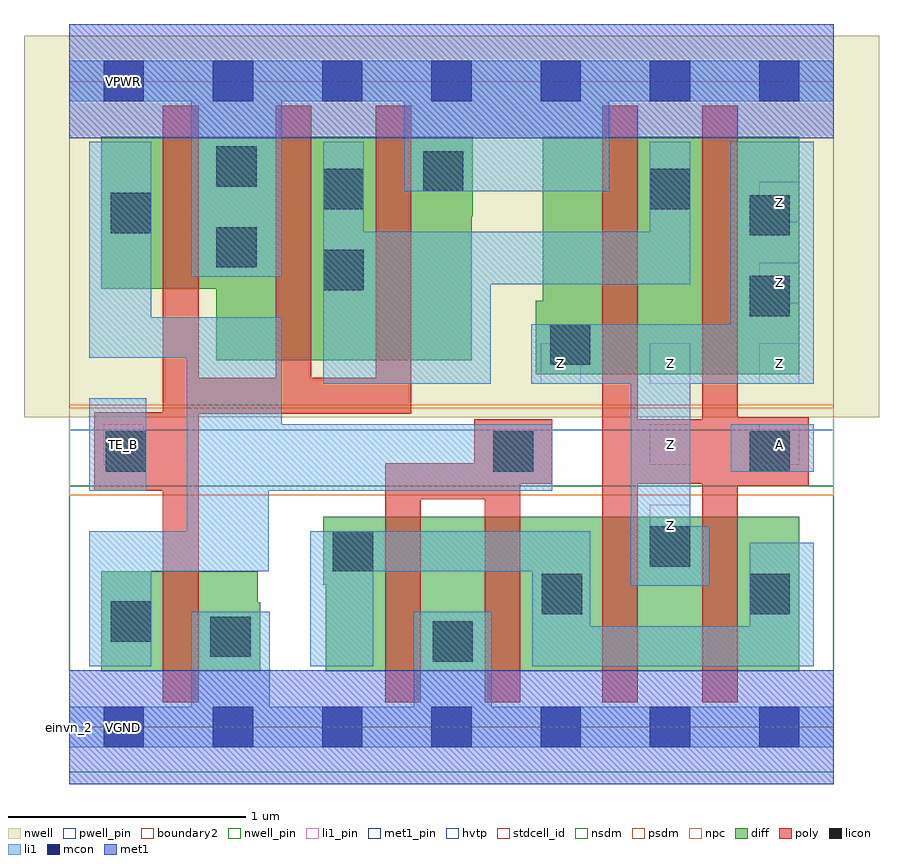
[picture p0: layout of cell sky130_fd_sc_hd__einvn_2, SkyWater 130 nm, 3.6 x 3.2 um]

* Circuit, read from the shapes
.subckt sky130_fd_sc_hd__einvn_2 A TE_B VGND VNB VPB VPWR Z
XM1 VGND TE_B n1 VNB sky130_fd_pr__nfet_01v8 w=0.42 l=0.15
XM2 VGND n1 n2 VNB sky130_fd_pr__nfet_01v8 w=0.65 l=0.15 m=2
XM3 Z A n2 VNB sky130_fd_pr__nfet_01v8 w=0.65 l=0.15 m=2
XM4 VPWR TE_B n1 VPB sky130_fd_pr__pfet_01v8_hvt w=0.64 l=0.15
XM5 n3 TE_B VPWR VPB sky130_fd_pr__pfet_01v8_hvt w=0.94 l=0.15 m=2
XM6 n3 A Z VPB sky130_fd_pr__pfet_01v8_hvt w=1 l=0.15 m=2
.ends

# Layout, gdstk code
import gdstk
lib = gdstk.Library(unit=1e-6, precision=1e-09)
def R(c, l, rs):  # rectangles x0, y0, x1, y1
    for r in rs: c.add(gdstk.rectangle(r[:2], r[2:], *l))
def A(c, l, x, y, w, h, nx, ny, dx, dy):  # array of equal rectangles
    R(c, l, [(x+i*dx, y+j*dy, x+i*dx+w, y+j*dy+h) for i in range(nx) for j in range(ny)])
def P(c, l, *ps):  # polygons
    for p in ps: c.add(gdstk.Polygon(p, *l))
nwell_pin = (64, 16)
nwell = (64, 20)
diff = (65, 20)
poly = (66, 20)
licon = (66, 44)
li1_pin = (67, 16)
li1 = (67, 20)
mcon = (67, 44)
met1_pin = (68, 16)
met1 = (68, 20)
hvtp = (78, 44)
stdcell_id = (81, 4)
nsdm = (93, 44)
psdm = (94, 20)
npc = (95, 20)
pwell_pin = (122, 16)
boundary2 = (236, 0)

sky130_fd_sc_hd__einvn_2 = lib.new_cell('sky130_fd_sc_hd__einvn_2')
R(sky130_fd_sc_hd__einvn_2, nwell_pin, [(0.145,2.635,0.315,2.805)])
R(sky130_fd_sc_hd__einvn_2, nwell, [(-0.19,1.305,3.41,2.91)])
P(sky130_fd_sc_hd__einvn_2, diff, [(0.805,0.525),(0.795,0.525),(0.795,0.655),(0.135,0.655),(0.135,0.235),(0.805,0.235)],
  [(3.075,0.885),(1.07,0.885),(1.07,0.6),(1.08,0.6),(1.08,0.235),(3.075,0.235)],
  [(1.7,2.485),(0.135,2.485),(0.135,1.845),(0.62,1.845),(0.62,1.545),(1.695,1.545),(1.695,2.15),(1.7,2.15)],
  [(3.075,2.485),(1.995,2.485),(1.995,1.795),(1.965,1.795),(1.965,1.485),(3.075,1.485)])
R(sky130_fd_sc_hd__einvn_2, poly, [(2.815,1.015,3.115,1.025), (2.815,1.295,3.115,1.305)])
P(sky130_fd_sc_hd__einvn_2, poly, [(1.44,2.615),(1.29,2.615),(1.29,1.47),(1.02,1.47),(1.02,2.615),(0.87,2.615),(0.87,1.47),(0.545,1.47),(0.545,2.615),(0.395,2.615),(0.395,1.325),(0.105,1.325),(0.105,0.995),(0.395,0.995),(0.395,0.105),(0.545,0.105),(0.545,1.32),(1.44,1.32)],
  [(2.035,1.295),(1.705,1.295),(1.705,1.11),(1.33,1.11),(1.33,0.105),(1.48,0.105),(1.48,0.96),(1.75,0.96),(1.75,0.105),(1.9,0.105),(1.9,1.025),(2.035,1.025)],
  [(3.115,1.295),(2.815,1.295),(2.815,2.615),(2.665,2.615),(2.665,1.295),(2.395,1.295),(2.395,2.615),(2.245,2.615),(2.245,0.105),(2.395,0.105),(2.395,1.025),(2.665,1.025),(2.665,0.105),(2.815,0.105),(2.815,1.025),(3.115,1.025)])
R(sky130_fd_sc_hd__einvn_2, licon, [(1.53,0.275,1.7,0.445), (0.595,0.295,0.765,0.465), (0.175,0.36,0.345,0.53), (1.99,0.475,2.16,0.645), (2.865,0.475,3.035,0.645), (1.11,0.655,1.28,0.825), (2.445,0.675,2.615,0.845), (0.155,1.075,0.325,1.245), (1.785,1.075,1.955,1.245), (2.865,1.075,3.035,1.245), (2.025,1.525,2.195,1.695), (2.865,1.73,3.035,1.9), (1.07,1.84,1.24,2.01), (0.62,1.935,0.79,2.105), (2.865,2.07,3.035,2.24), (0.175,2.08,0.345,2.25), (1.07,2.18,1.24,2.35), (2.445,2.18,2.615,2.35), (1.49,2.255,1.66,2.425), (0.62,2.275,0.79,2.445)])
A(sky130_fd_sc_hd__einvn_2, li1_pin, 1.985, 1.445, 0.17, 0.17, 3, 1, 0.46, 0)
R(sky130_fd_sc_hd__einvn_2, li1_pin, [(2.445,0.765,2.615,0.935), (0.145,1.105,0.315,1.275), (2.445,1.105,2.615,1.275), (2.905,1.105,3.075,1.275), (2.905,1.785,3.075,1.955), (2.905,2.125,3.075,2.295)])
R(sky130_fd_sc_hd__einvn_2, li1, [(0.085,0.995,0.325,1.385), (2.785,1.075,3.135,1.275)])
P(sky130_fd_sc_hd__einvn_2, li1, [(3.135,0.775),(2.865,0.775),(2.865,0.425),(2.195,0.425),(2.195,0.825),(1.015,0.825),(1.015,0.255),(1.28,0.255),(1.28,0.655),(1.95,0.655),(1.95,0.255),(3.135,0.255)],
  [(2.035,1.275),(0.895,1.275),(0.895,1.725),(0.345,1.725),(0.345,2.465),(0.085,2.465),(0.085,1.555),(0.495,1.555),(0.495,0.825),(0.085,0.825),(0.085,0.255),(0.345,0.255),(0.345,0.655),(0.84,0.655),(0.84,0.995),(2.035,0.995)],
  [(3.135,2.465),(2.785,2.465),(2.785,1.695),(1.945,1.695),(1.945,1.445),(2.365,1.445),(2.365,0.595),(2.695,0.595),(2.695,0.845),(2.615,0.845),(2.615,1.445),(3.135,1.445)],
  [(3.22,2.805),(0,2.805),(0,2.635),(0.515,2.635),(0.515,1.895),(0.895,1.895),(0.895,2.635),(1.41,2.635),(1.41,2.255),(2.275,2.255),(2.275,2.635),(3.22,2.635)],
  [(2.615,2.465),(2.445,2.465),(2.445,2.085),(1.24,2.085),(1.24,2.465),(1.07,2.465),(1.07,1.445),(1.775,1.445),(1.775,1.865),(2.615,1.865)],
  [(3.22,0.085),(1.78,0.085),(1.78,0.485),(1.45,0.485),(1.45,0.085),(0.845,0.085),(0.845,0.485),(0.515,0.485),(0.515,0.085),(0,0.085),(0,-0.085),(3.22,-0.085)])
A(sky130_fd_sc_hd__einvn_2, mcon, 0.145, -0.085, 0.17, 0.17, 7, 2, 0.46, 2.72)
R(sky130_fd_sc_hd__einvn_2, met1_pin, [(0.145,-0.085,0.315,0.085), (0.145,2.635,0.315,2.805)])
R(sky130_fd_sc_hd__einvn_2, hvtp, [(0,1.25,3.22,2.72)])
R(sky130_fd_sc_hd__einvn_2, stdcell_id, [(0,0,3.22,2.72)])
R(sky130_fd_sc_hd__einvn_2, nsdm, [(0,-0.19,3.22,1.015)])
R(sky130_fd_sc_hd__einvn_2, psdm, [(0,1.355,3.22,2.91)])
R(sky130_fd_sc_hd__einvn_2, npc, [(0,0.975,3.22,1.345)])
R(sky130_fd_sc_hd__einvn_2, pwell_pin, [(0.145,-0.085,0.315,0.085)])
R(sky130_fd_sc_hd__einvn_2, boundary2, [(0,0,3.22,2.72)])
sky130_fd_sc_hd__einvn_2.add(gdstk.FlexPath([(0,0),(3.22,0)], 0.48, ends="flush", simple_path=True, layer=68, datatype=20))  # met1
sky130_fd_sc_hd__einvn_2.add(gdstk.FlexPath([(0,2.72),(3.22,2.72)], 0.48, ends="flush", simple_path=True, layer=68, datatype=20))  # met1
sky130_fd_sc_hd__einvn_2.add(gdstk.Label('TE_B', (0.23,1.19), layer=67, texttype=5))
sky130_fd_sc_hd__einvn_2.add(gdstk.Label('A', (2.99,1.19), layer=67, texttype=5))
sky130_fd_sc_hd__einvn_2.add(gdstk.Label('Z', (2.53,0.85), layer=67, texttype=5))
sky130_fd_sc_hd__einvn_2.add(gdstk.Label('Z', (2.53,1.19), layer=67, texttype=5))
sky130_fd_sc_hd__einvn_2.add(gdstk.Label('Z', (2.07,1.53), layer=67, texttype=5))
sky130_fd_sc_hd__einvn_2.add(gdstk.Label('Z', (2.53,1.53), layer=67, texttype=5))
sky130_fd_sc_hd__einvn_2.add(gdstk.Label('Z', (2.99,1.53), layer=67, texttype=5))
sky130_fd_sc_hd__einvn_2.add(gdstk.Label('Z', (2.99,2.21), layer=67, texttype=5))
sky130_fd_sc_hd__einvn_2.add(gdstk.Label('Z', (2.99,1.87), layer=67, texttype=5))
sky130_fd_sc_hd__einvn_2.add(gdstk.Label('VPWR', (0.23,2.72), layer=68, texttype=5))
sky130_fd_sc_hd__einvn_2.add(gdstk.Label('VGND', (0.23,0), layer=68, texttype=5))
sky130_fd_sc_hd__einvn_2.add(gdstk.Label('VPB', (0.23,2.72), layer=64, texttype=5))
sky130_fd_sc_hd__einvn_2.add(gdstk.Label('VNB', (0.23,0), layer=64, texttype=59))
sky130_fd_sc_hd__einvn_2.add(gdstk.Label('einvn_2', (0,0), layer=83, texttype=44))

lib.write_gds('sky130_fd_sc_hd__einvn_2.gds')
